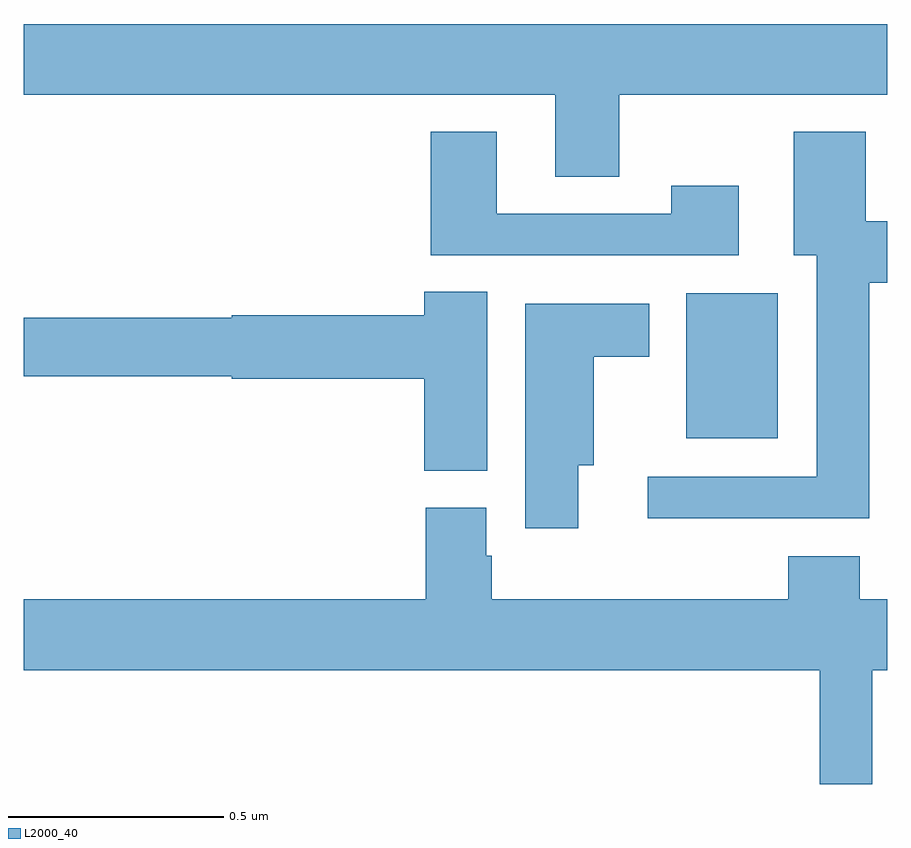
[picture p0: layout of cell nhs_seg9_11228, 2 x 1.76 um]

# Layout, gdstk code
import gdstk
lib = gdstk.Library(unit=1e-6, precision=1e-09)
def R(c, l, rs):  # rectangles x0, y0, x1, y1
    for r in rs: c.add(gdstk.rectangle(r[:2], r[2:], *l))
def P(c, l, *ps):  # polygons
    for p in ps: c.add(gdstk.Polygon(p, *l))
L2000_40 = (2000, 40)

nhs_seg9_11228 = lib.new_cell('nhs_seg9_11228')
R(nhs_seg9_11228, L2000_40, [(254.534,1186.301,254.746,1186.636)])
P(nhs_seg9_11228, L2000_40, [(254.379,1187.096),(255,1187.096),(255,1187.26),(253,1187.26),(253,1187.096),(254.231,1187.096),(254.231,1186.906),(254.379,1186.906)],
  [(254.958,1186.661),(255,1186.661),(255,1186.803),(254.95,1186.803),(254.95,1187.011),(254.783,1187.011),(254.783,1186.724),(254.837,1186.724),(254.837,1186.212),(254.445,1186.212),(254.445,1186.115),(254.958,1186.115)],
  [(254.656,1186.885),(254.5,1186.885),(254.5,1186.821),(254.095,1186.821),(254.095,1187.011),(253.943,1187.011),(253.943,1186.725),(254.656,1186.725)],
  [(254.074,1186.64),(253.928,1186.64),(253.928,1186.586),(253.482,1186.586),(253.482,1186.58),(253,1186.58),(253,1186.444),(253.482,1186.444),(253.482,1186.439),(253.928,1186.439),(253.928,1186.225),(254.074,1186.225)],
  [(254.284,1186.238),(254.32,1186.238),(254.32,1186.49),(254.449,1186.49),(254.449,1186.612),(254.162,1186.612),(254.162,1186.092),(254.284,1186.092)],
  [(254.844,1185.5),(254.965,1185.5),(254.965,1185.764),(255,1185.764),(255,1185.928),(254.936,1185.928),(254.936,1186.027),(254.771,1186.027),(254.771,1185.928),(254.084,1185.928),(254.084,1186.029),(254.071,1186.029),(254.071,1186.14),(253.931,1186.14),(253.931,1185.928),(253,1185.928),(253,1185.764),(254.844,1185.764)])

lib.write_gds('nhs_seg9_11228.gds')
